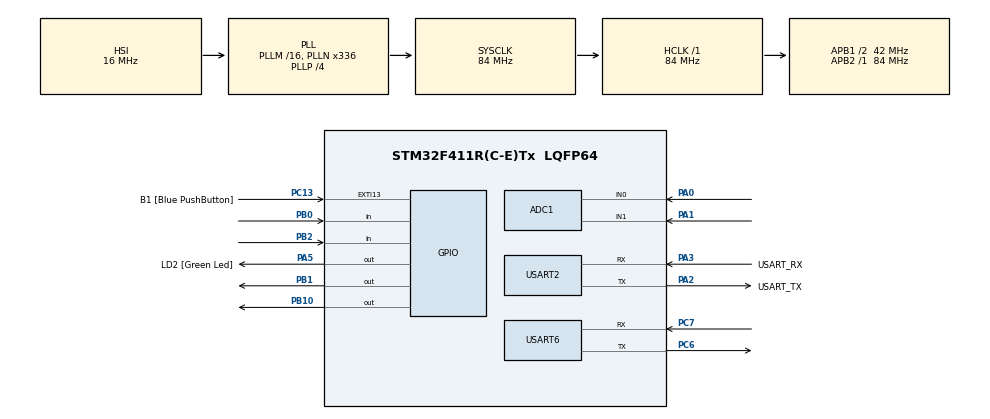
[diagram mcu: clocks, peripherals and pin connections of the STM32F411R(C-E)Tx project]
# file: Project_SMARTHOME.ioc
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ADC1.Channel-6\#ChannelRegularConversion=ADC_CHANNEL_0
ADC1.Channel-7\#ChannelRegularConversion=ADC_CHANNEL_1
ADC1.NbrOfConversion=2
ADC1.NbrOfConversionFlag=1
ADC1.Rank-6\#ChannelRegularConversion=1
ADC1.Rank-7\#ChannelRegularConversion=2
ADC1.SamplingTime-6\#ChannelRegularConversion=ADC_SAMPLETIME_3CYCLES
ADC1.SamplingTime-7\#ChannelRegularConversion=ADC_SAMPLETIME_480CYCLES
ADC1.ScanConvMode=ENABLE
ADC1.master=1
Mcu.Family=STM32F4
Mcu.Name=STM32F411R(C-E)Tx
Mcu.Package=LQFP64
NVIC.PriorityGroup=NVIC_PRIORITYGROUP_0
PA0-WKUP.Signal=ADCx_IN0
PA1.Signal=ADCx_IN1
PA13.GPIO_Label=TMS
PA13.Mode=Serial_Wire
PA13.Signal=SYS_JTMS-SWDIO
PA14.GPIO_Label=TCK
PA14.Mode=Serial_Wire
PA14.Signal=SYS_JTCK-SWCLK
PA2.GPIO_Label=USART_TX
PA2.Mode=Asynchronous
PA2.Signal=USART2_TX
PA3.GPIO_Label=USART_RX
PA3.Mode=Asynchronous
PA3.Signal=USART2_RX
PA5.GPIO_Label=LD2 [Green Led]
PA5.Signal=GPIO_Output
PB0.Signal=GPIO_Input
PB1.Signal=GPIO_Output
PB10.Signal=GPIO_Output
PB2.Signal=GPIO_Input
PB3.GPIO_Label=SWO
PB3.Signal=SYS_JTDO-SWO
PC13-ANTI_TAMP.GPIO_Label=B1 [Blue PushButton]
PC13-ANTI_TAMP.GPIO_ModeDefaultEXTI=GPIO_MODE_IT_FALLING
PC13-ANTI_TAMP.Signal=GPXTI13
PC14-OSC32_IN.Mode=LSE-External-Oscillator
PC14-OSC32_IN.Signal=RCC_OSC32_IN
PC15-OSC32_OUT.Mode=LSE-External-Oscillator
PC15-OSC32_OUT.Signal=RCC_OSC32_OUT
PC6.Mode=Asynchronous
PC6.Signal=USART6_TX
PC7.Mode=Asynchronous
PC7.Signal=USART6_RX
PH0\ -\ OSC_IN.Mode=HSE-External-Clock-Source
PH0\ -\ OSC_IN.Signal=RCC_OSC_IN
PH1\ -\ OSC_OUT.Mode=HSE-External-Clock-Source
PH1\ -\ OSC_OUT.Signal=RCC_OSC_OUT
ProjectManager.HeapSize=0x200
ProjectManager.StackSize=0x400
ProjectManager.TargetToolchain=STM32CubeIDE
RCC.48MHZClocksFreq_Value=84000000
RCC.AHBFreq_Value=84000000
RCC.APB1CLKDivider=RCC_HCLK_DIV2
RCC.APB1Freq_Value=42000000
RCC.APB1TimFreq_Value=84000000
RCC.APB2Freq_Value=84000000
RCC.APB2TimFreq_Value=84000000
RCC.CortexFreq_Value=84000000
RCC.FLatency-AdvancedSettings=FLASH_LATENCY_2
RCC.HCLKFreq_Value=84000000
RCC.HSE_VALUE=8000000
RCC.HSI_VALUE=16000000
RCC.PLLN=336
RCC.PLLP=RCC_PLLP_DIV4
RCC.SYSCLKFreq_VALUE=84000000
RCC.SYSCLKSource=RCC_SYSCLKSOURCE_PLLCLK
RCC.VCOOutputFreq_Value=336000000
SH.ADCx_IN0.0=ADC1_IN0,IN0
SH.ADCx_IN1.0=ADC1_IN1,IN1
USART2.VirtualMode=VM_ASYNC
USART6.VirtualMode=VM_ASYNC
board=NUCLEO-F411RE

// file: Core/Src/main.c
/* USER CODE BEGIN Header */
/**
  ******************************************************************************
  * @file           : main.c
  * @brief          : Main program body
  ******************************************************************************
  * @attention
  *
  * Copyright (c) 2025 STMicroelectronics.
  * All rights reserved.
  *
  * This software is licensed under terms that can be found in the LICENSE file
  * in the root directory of this software component.
  * If no LICENSE file comes with this software, it is provided AS-IS.
  *
  ******************************************************************************
  */
/* USER CODE END Header */
#include "main.h"

/* USER CODE BEGIN Includes */
#include <stdio.h>
#include <math.h>
/* USER CODE END Includes */

/* USER CODE BEGIN PTD */

/* ---------- Noise Level ---------- */
typedef enum {
    NOISE_LOW = 0,
    NOISE_MED,
    NOISE_HIGH
} NoiseLevel_t;

/* USER CODE END PTD */

/* USER CODE BEGIN PD */

/* ---------- GPIO Mapping ---------- */
/* LDR ใช้ ADC1_IN0 ที่ PA0 อยู่แล้วจาก CubeMX */
#define LDR_ADC_CHANNEL       ADC_CHANNEL_0   // PA0

#define MIC_GPIO_Port         GPIOB
#define MIC_Pin               GPIO_PIN_0      // Mic D0

#define US_TRIG_GPIO_Port     GPIOB
#define US_TRIG_Pin           GPIO_PIN_1
#define US_ECHO_GPIO_Port     GPIOB
#define US_ECHO_Pin           GPIO_PIN_2

#define LIGHT_GPIO_Port       GPIOB
#define LIGHT_Pin             GPIO_PIN_10    // LED ไฟห้อง (บน breadboard)

/* ใช้ LD2 บนบอร์ดเป็น Mode LED */
#define LED_GPIO_Port         LD2_GPIO_Port
#define LED_Pin               LD2_Pin        // PA5

/* ---------- ค่าปรับ (Tuning Parameters) ---------- */
#define LDR_TH_DARK            400   // ADC > ค่านี้ (~0.3V) = มืด

#define PERSON_DISTANCE_CM    150.0f   // ระยะถือว่ามีคน (เช่น < 1.5 m)

#define NOISE_HIGH_HOLD_MS   150     // ภายใน 150 ms หลังเจอเสียง = HIGH (ลดการกระพริบ)
#define NOISE_MED_HOLD_MS    900     // ภายใน 0.9 วิ หลังเจอเสียง = MED
#define NOISE_COUNT_WINDOW_MS (60 * 1000)  // หน้าต่างนับจำนวนเหตุการณ์เสียง 60 วิ
#define NOISE_MAX_HIGH_PER_WINDOW 3       // อนุญาต HIGH ได้ไม่เกิน 3 ครั้งใน 60 วิ
#define NOISE_MAX_MED_PER_WINDOW  8       // อนุญาต MED ได้ไม่เกิน 8 ครั้งใน 60 วิ

#define STATUS_TX_INTERVAL_MS 500            // ส่งสถานะออก UART ทุก 500ms

/* ---------- Debug Mic RMS / dB ---------- */
// เลือกช่อง ADC ของไมค์อนาล็อก (ต่อสายให้ตรงกับ CubeMX ด้วย)
#define MIC_ADC_CHANNEL       ADC_CHANNEL_1   // ปรับตามขาที่ใช้ต่อไมค์ AOUT
#define MIC_ADC_SAMPLE_TIME   ADC_SAMPLETIME_480CYCLES  // เพิ่มเวลา sample ให้สัญญาณนิ่ง
#define MIC_RMS_SAMPLES       16             // จำนวนตัวอย่างต่อเฟรม RMS
#define MIC_DEBUG_INTERVAL_MS 250            // เวลาพิมพ์ debug ต่อครั้ง
#define MIC_DEBUG_ENABLE      0              // 1 = เปิดพิมพ์ debug dB, 0 = ปิด

// ใช้คาลิเบรต dB SPL: วัด vrms_ref ตอนเปิดเสียงที่ spl_ref_dB (เช่น 94 dB @1kHz)
#define MIC_SPL_REF_DB        60.0f          // ใช้ ref ~60 dB (คาลิเบรตเชิงสัมพัทธ์)
#define MIC_VRMS_REF          0.0030f        // Vrms ที่ได้เมื่อเสียง ~55 dB (ปรับตามที่วัดจริง)

// ถ้าขา D0 ไม่เปลี่ยน ให้ใช้ค่าจาก ADC เป็นตัวตัดสินแทน: 1 เมื่อ RMS สูงกว่า threshold นี้ (หน่วย ADC count)
#define MIC_ADC_THRESHOLD     4            // ลด threshold ให้ตอบสนองสัญญาณ ADC ที่อ่อน (ดู MICADC ใน STATUS)
#define MIC_ADC_CONSEC_HIT    2              // ต้องสูงต่อเนื่องกี่ครั้งถึงจะถือว่ามีเสียง (กันสไปก์)

// Threshold dB SPL สำหรับจัดระดับเสียง (เชิงสัมพัทธ์)
#define NOISE_DB_MED          63.0f   // >63–70 = MED
#define NOISE_DB_HIGH         70.0f   // >70 = HIGH

/* USER CODE END PD */

ADC_HandleTypeDef hadc1;

UART_HandleTypeDef huart2;
UART_HandleTypeDef huart6;

/* USER CODE BEGIN PV */

/* ---------- ตัวแปรสถานะระบบ ---------- */
static uint8_t  g_lightOn = 0;

static uint16_t g_ldrValue = 0;
static float    g_ldrVoltage = 0.0f;
static uint8_t  g_isDark = 0;

static float    g_distanceCm = 999.0f;

static uint8_t  g_micDigital = 0;
static NoiseLevel_t g_noiseLevel = NOISE_LOW;

static uint32_t g_lastStatusTxTime = 0;
static uint32_t g_lastNoiseWindowStart = 0;
static uint16_t g_noiseHighCountWindow = 0;
static uint16_t g_noiseMedCountWindow  = 0;

static uint16_t g_micAdcRms = 0;   // ค่าที่อ่านได้จาก Mic ADC (RMS แบบดิบ)
static float    g_micVrms   = 0.0f;
static float    g_micDb     = 0.0f;
static float    g_micDbSpl  = 0.0f; // dB SPL (อ้างอิงค่าคาลิเบรต)

static uint32_t g_cycPerUs  = 0;    // สำหรับจับเวลาระดับไมโครวินาทีด้วย DWT

/* USER CODE END PV */

void SystemClock_Config(void);
static void MX_GPIO_Init(void);
static void MX_USART2_UART_Init(void);
static void MX_ADC1_Init(void);
static void MX_USART6_UART_Init(void);
void DWT_Init(void);
uint32_t micros(void);
/* USER CODE BEGIN PFP */

/* ---------- ฟังก์ชันของระบบ ---------- */
static uint16_t LDR_ReadRaw(void);
static void     Sensors_Update(uint32_t now);
static float    Ultrasonic_ReadDistanceCm(void);
static float    Mic_ReadRmsDb(uint16_t *adcRmsOut, float *vrmsOut);
static void     Mic_DebugTick(uint32_t now);
static void     Logic_Update(uint32_t now);
static void     Light_UpdateGPIO(void);
static void     Mode_LED_Update(void);

static void     UART_SendStatus(uint32_t now);
static void     UART_ProcessRx(void);

/* USER CODE END PFP */

/* USER CODE BEGIN 0 */

/* Retarget printf ไป UART2 */
int __io_putchar(int ch)
{
  HAL_UART_Transmit(&huart2, (uint8_t *)&ch, 1, HAL_MAX_DELAY);
  return ch;
}
/* อ่าน ADC ของ LDR */
static uint16_t LDR_ReadRaw(void)
{
  ADC_ChannelConfTypeDef sConfig = {0};
  sConfig.Channel = LDR_ADC_CHANNEL;
  sConfig.Rank = 1;
  sConfig.SamplingTime = ADC_SAMPLETIME_3CYCLES;

  HAL_ADC_ConfigChannel(&hadc1, &sConfig);
  HAL_ADC_Start(&hadc1);

  if (HAL_ADC_PollForConversion(&hadc1, 10) == HAL_OK)
  {
    uint16_t val = (uint16_t)HAL_ADC_GetValue(&hadc1);
    HAL_ADC_Stop(&hadc1);
    return val;
  }

  HAL_ADC_Stop(&hadc1);
  return 0;
}

/* ใช้ TIM2 วัดเวลาของ ECHO แบบละเอียดระดับไมโครวินาที */

static float Ultrasonic_ReadDistanceCm(void)
{
  /* 0) ถ้า DWT ยังไม่พร้อม ให้ fallback แบบหยาบ */
  if (g_cycPerUs == 0) {
    DWT_Init();
  }

  /* 1) จำกัด rate ยิง ultrasonic อย่างน้อย 70ms ต่อครั้ง */
  static uint32_t lastTrigUs = 0;
  static float lastDistance = 999.0f;
  static float filtered = -1.0f;
  uint32_t nowUs = micros();
  if (nowUs - lastTrigUs < 70000U) { // ยังไม่ครบ 70 ms ใช้ค่าล่าสุด
    return (filtered < 0.0f) ? lastDistance : filtered;
  }

  /* 2) ส่ง Trigger สูง 10us แบบกำหนดเวลาชัดเจน */
  HAL_GPIO_WritePin(US_TRIG_GPIO_Port, US_TRIG_Pin, GPIO_PIN_RESET);
  uint32_t tTrig = micros();
  while (micros() - tTrig < 5);    // hold low ~5us
  HAL_GPIO_WritePin(US_TRIG_GPIO_Port, US_TRIG_Pin, GPIO_PIN_SET);
  tTrig = micros();
  while (micros() - tTrig < 10);   // high 10us ตามสเปก
  HAL_GPIO_WritePin(US_TRIG_GPIO_Port, US_TRIG_Pin, GPIO_PIN_RESET);
  lastTrigUs = micros();

  /* 2) รอ Echo ขึ้น HIGH พร้อม timeout กันค้าง */
  uint32_t tWaitStart = micros();
  while (HAL_GPIO_ReadPin(US_ECHO_GPIO_Port, US_ECHO_Pin) == GPIO_PIN_RESET)
  {
    if ((micros() - tWaitStart) > 40000) { // 40 ms timeout
      return (filtered < 0.0f) ? lastDistance : filtered;   // รอนานเกิน → ใช้ค่าก่อนหน้า
    }
  }

  /* 3) วัดความกว้าง pulse แบบไมโครวินาที */
  uint32_t tStart = micros();
  while (HAL_GPIO_ReadPin(US_ECHO_GPIO_Port, US_ECHO_Pin) == GPIO_PIN_SET)
  {
    if ((micros() - tStart) > 40000) {
      return (filtered < 0.0f) ? lastDistance : filtered;   // pulse ยาวผิดปกติ → ใช้ค่าก่อนหน้า
    }
  }
  uint32_t dt_us = micros() - tStart;

  if (dt_us == 0 || dt_us > 40000) {
    return (filtered < 0.0f) ? lastDistance : filtered;     // กันกรณีหลุด ๆ → ใช้ค่าก่อนหน้า
  }

  /* 4) แปลงเป็นระยะ: sound speed ~0.0343 cm/us, หาร 2 เพราะไป-กลับ */
  float distance = ((float)dt_us) * 0.0343f * 0.5f;

  /* 6) low-pass filter ให้ค่าเนียนเหมือนเดิม */
  if (filtered < 0.0f) {
    filtered = distance;
  } else {
    filtered = 0.7f * filtered + 0.3f * distance;
  }

  lastDistance = filtered;
  return lastDistance;
}

/* อ่านไมค์อนาล็อกเป็น RMS + dB (ใช้สำหรับ debug) */
static float Mic_ReadRmsDb(uint16_t *adcRmsOut, float *vrmsOut)
{
  // ใช้ Welford incremental เพื่อหาค่า RMS แบบตัด DC offset ออก (AC component เท่านั้น)
  ADC_ChannelConfTypeDef sConfig = {0};
  sConfig.Rank = 1;
  sConfig.SamplingTime = MIC_ADC_SAMPLE_TIME;
  sConfig.Channel = MIC_ADC_CHANNEL; // ใช้ช่องไมค์โดยตรง (ไม่ fallback)

  float mean = 0.0f;
  float m2   = 0.0f;
  uint32_t n = 0;

  for (int i = 0; i < MIC_RMS_SAMPLES; i++)
  {
    HAL_ADC_ConfigChannel(&hadc1, &sConfig);
    HAL_ADC_Start(&hadc1);
    if (HAL_ADC_PollForConversion(&hadc1, 10) == HAL_OK)
    {
      uint32_t v = HAL_ADC_GetValue(&hadc1);
      n++;
      float delta = (float)v - mean;
      mean += delta / (float)n;
      float delta2 = (float)v - mean;
      m2 += delta * delta2;
    }
    HAL_ADC_Stop(&hadc1);
  }

  float adcRmsFloat = 0.0f;
  float vrms = 0.0f;
  float db   = -120.0f;

  if (n > 0)
  {
    float variance = m2 / (float)n;
    if (variance < 0) variance = 0;
    adcRmsFloat = sqrtf(variance);
    if (adcRmsFloat < 1e-3f) adcRmsFloat = 1e-3f;
    vrms = adcRmsFloat * (3.3f / 4095.0f);
    db   = 20.0f * log10f(vrms / 1.0f);
  }

  if (adcRmsOut) *adcRmsOut = (uint16_t)(adcRmsFloat + 0.5f);
  if (vrmsOut) *vrmsOut = vrms;
  return db;
}

/* อัปเดตค่าจาก sensor ทั้งหมด + clap / noise */
static void Sensors_Update(uint32_t now)
{
  /* ---------- LDR ---------- */
  g_ldrValue = LDR_ReadRaw();
  g_ldrVoltage = (3.3f * (float)g_ldrValue) / 4095.0f;
  g_isDark   = (g_ldrValue > LDR_TH_DARK);   // กลับด้าน: ค่าสูง = มืด

  /* ---------- Mic Digital (อ่านเสียง + clap) ---------- */
  static uint8_t micConsec = 0; // ใช้หน่วงเพื่อลดสไปก์จาก ADC

  // ใช้ขา D0 เป็น optional แต่ให้ยึดค่าจาก ADC เป็นหลัก
  uint8_t raw = (HAL_GPIO_ReadPin(MIC_GPIO_Port, MIC_Pin) == GPIO_PIN_RESET) ? 1 : 0;

  // อ่าน RMS (AC) และถ้าสูงกว่า threshold ให้ถือว่ามีเสียง (override D0)
  uint16_t adcRmsTmp = 0;
  float vrmsTmp = 0.0f;
  float dbTmp = Mic_ReadRmsDb(&adcRmsTmp, &vrmsTmp);
  if (adcRmsTmp > MIC_ADC_THRESHOLD) {
      if (micConsec < 255) micConsec++;
  } else {
      if (micConsec > 0) micConsec--; // ลดลงทีละขั้นเพื่อหน่วง
  }

  if (micConsec >= MIC_ADC_CONSEC_HIT) {
      raw = 1;
  } else {
      raw = 0; // ค่าต่ำหรือไม่ต่อเนื่องพอถือว่าเงียบ
  }

  g_micDigital = raw; // ใช้ ADC เป็นตัวตัดสินหลัก (D0 เป็นแค่ตัวเสริม)
  g_micAdcRms = adcRmsTmp;
  //vrmsTmp = vrmsTmp * 5.0f; // ขยาย gain (ขึ้นกับวงจรไมค์)
  g_micVrms   = vrmsTmp;
  g_micDbSpl  = MIC_SPL_REF_DB + 20.0f * log10f((vrmsTmp < 1e-6f ? 1e-6f : vrmsTmp) / MIC_VRMS_REF);
  g_micDb     = g_micDbSpl;

  /* ---------- อัปเดตระดับ NOISE ด้วย SPL + hold time กันแกว่ง ---------- */
  static uint32_t lastHighEventMs = 0;
  static uint32_t lastMedEventMs  = 0;

  if (g_micDbSpl >= NOISE_DB_HIGH) {
      lastHighEventMs = now;
      lastMedEventMs  = now;
  } else if (g_micDbSpl >= NOISE_DB_MED) {
      lastMedEventMs = now;
  }

  uint8_t highActive = (lastHighEventMs && ((now - lastHighEventMs) < NOISE_HIGH_HOLD_MS));
  uint8_t medActive  = (lastMedEventMs  && ((now - lastMedEventMs)  < NOISE_MED_HOLD_MS));

  if (highActive) {
      g_noiseLevel = NOISE_HIGH;
  } else if (medActive) {
      g_noiseLevel = NOISE_MED;
  } else {
      g_noiseLevel = NOISE_LOW;
  }

  /* ---------- Ultrasonic ---------- */
  g_distanceCm = Ultrasonic_ReadDistanceCm();
  if (g_distanceCm > 0 && g_distanceCm < PERSON_DISTANCE_CM)
  {
  }
}

static void Logic_Update(uint32_t now)
{
    /* ---------- นับจำนวนเหตุการณ์เสียงในหน้าต่าง 60 วิ ---------- */
    static NoiseLevel_t prevNoiseLevel = NOISE_LOW;
    if (prevNoiseLevel != g_noiseLevel)
    {
        if (g_noiseLevel == NOISE_HIGH) {
            g_noiseHighCountWindow++;
        } else if (g_noiseLevel == NOISE_MED) {
            g_noiseMedCountWindow++;
        }
    }
    prevNoiseLevel = g_noiseLevel;

    if (now - g_lastNoiseWindowStart >= NOISE_COUNT_WINDOW_MS) {
        g_lastNoiseWindowStart = now;
        g_noiseHighCountWindow = 0;
        g_noiseMedCountWindow  = 0;
    }

    /* ---------- เงื่อนไขหลักตามที่ต้องการ ---------- */

    // 1) เช็คว่าตอนนี้ ultrasonic ตรวจจับคนอยู่ไหม
    uint8_t personDetectedNow =
        (g_distanceCm > 0.0f && g_distanceCm < PERSON_DISTANCE_CM);

    // 2) เสียงเกิน threshold หรือยัง?
    uint8_t noiseTooHigh =
        (g_noiseHighCountWindow >= NOISE_MAX_HIGH_PER_WINDOW) ||
        (g_noiseMedCountWindow  >= NOISE_MAX_MED_PER_WINDOW);

    // 3) ถ้าเสียง HIGH/MED เกิน threshold และมีคนอยู่ -> ขอเปิดไฟ
    if (noiseTooHigh && personDetectedNow)
    {
        // เช็คเซนเซอร์แสง ถ้ามืด/แสงไม่พอ -> เปิดไฟ (และในอนาคตค่อยเพิ่มการปรับ brightness)
        if (g_isDark) {
            g_lightOn = 1;

            // TODO: ถ้ามีวงจร dimming จริง ๆ ให้ปรับ PWM ที่นี่
            // เช่น Light_SetBrightness(level) แล้วอ่าน LDR วนจนกว่าจะสว่างพอ
        }
    }

    // 4) ถ้าไฟเปิดอยู่แล้ว และตอนนี้เสียงกลับมา LOW และ count ต่ำกว่า threshold -> ปิดไฟ
    if (g_lightOn &&
        g_noiseLevel == NOISE_LOW &&
        g_noiseHighCountWindow < NOISE_MAX_HIGH_PER_WINDOW &&
        g_noiseMedCountWindow  < NOISE_MAX_MED_PER_WINDOW)
    {
        g_lightOn = 0;
    }

}

/* พิมพ์ค่าไมค์เป็น RMS/dB สำหรับ debug */
static void Mic_DebugTick(uint32_t now)
{
#if MIC_DEBUG_ENABLE
  static uint32_t lastPrint = 0;
  if (now - lastPrint < MIC_DEBUG_INTERVAL_MS) return;
  lastPrint = now;

  uint16_t adcRms = 0;
  float vrms = 0.0f;
  float db = Mic_ReadRmsDb(&adcRms, &vrms);
  float dbSpl = MIC_SPL_REF_DB + 20.0f * log10f((vrms < 1e-6f ? 1e-6f : vrms) / MIC_VRMS_REF);

  const char *noiseStr = (g_noiseLevel == NOISE_LOW) ? "LOW" :
                         (g_noiseLevel == NOISE_MED) ? "MED" : "HIGH";

  printf("[MICDBG] adc_rms=%u vrms=%.3f dB=%.1f spl=%.1f mic_dig=%d noise=%s\\r\\n",
         adcRms, vrms, db, dbSpl, g_micDigital, noiseStr);
#else
  (void)now;
#endif
}

/* อัปเดต GPIO ของไฟห้อง */
static void Light_UpdateGPIO(void)
{
  if (g_lightOn)
    HAL_GPIO_WritePin(LIGHT_GPIO_Port, LIGHT_Pin, GPIO_PIN_SET);
  else
    HAL_GPIO_WritePin(LIGHT_GPIO_Port, LIGHT_Pin, GPIO_PIN_RESET);
}

/* Mode LED (ใช้ LD2) */
static void Mode_LED_Update(void)
{
  uint32_t now = HAL_GetTick();
  uint8_t ledOn = ((now / 500) % 2) ? 1 : 0;

  HAL_GPIO_WritePin(LED_GPIO_Port, LED_Pin, ledOn ? GPIO_PIN_SET : GPIO_PIN_RESET);
}

/* ส่งสถานะปัจจุบันออก UART6 (ไป ESP32) และ UART2 (debug) */
static void UART_SendStatus(uint32_t now)
{
  if (now - g_lastStatusTxTime < STATUS_TX_INTERVAL_MS) return;
  g_lastStatusTxTime = now;

  if (g_micVrms < 1e-6f) g_micVrms = 1e-6f; // กัน log(0)

  const char *noiseStr = (g_noiseLevel == NOISE_LOW) ? "LOW" :
                         (g_noiseLevel == NOISE_MED) ? "MED" : "HIGH";

  // แปลงระยะจาก float → int (cm) สำหรับส่งไป ESP32
  uint16_t distInt = (g_distanceCm < 0.0f) ? 0 : (uint16_t)(g_distanceCm + 0.5f);

  /* ---------- 1) ส่งชุดสั้นไป ESP32 ผ่าน USART6 ---------- */
  char buf6[128];

  // รูปแบบต้องตรงกับ sscanf ฝั่ง ESP32 (DIST เป็น int ไม่มีทศนิยม)
  // STATUS;LIGHT=%d;LDR=%u;DIST=%d;NOISE=%s
  int len6 = snprintf(buf6, sizeof(buf6),
           "STATUS;LIGHT=%d;LDR=%u;DIST=%d;NOISE=%s\n",
           g_lightOn,
           g_ldrValue,
           distInt,
           noiseStr);

  if (len6 > 0) {
    HAL_UART_Transmit(&huart6, (uint8_t *)buf6, len6, 50);
  }

  /* ---------- 2) ส่งชุดเต็ม (พร้อม float) ไปดูใน PuTTY ผ่าน USART2 ---------- */
  char buf2[240];
  int len2 = snprintf(buf2, sizeof(buf2),
           "STATUS;LIGHT=%d;LDR=%u;LDRV=%.3f;DIST=%.1f;NOISE=%s;"
           "MIC=%d;MICADC=%u;MICVR=%.3f;MICDB=%.1f;MICSPL=%.1f\r\n",
           g_lightOn,
           g_ldrValue,
           g_ldrVoltage,
           g_distanceCm,
           noiseStr,
           g_micDigital,
           g_micAdcRms,
           g_micVrms,
           g_micDb,
           g_micDbSpl);

  if (len2 > 0) {
    HAL_UART_Transmit(&huart2, (uint8_t *)buf2, len2, 50);
  }
}

/* โครงรับคำสั่งจาก UART (ยังว่างไว้ให้ต่อยอด) */
static void UART_ProcessRx(void)
{
  /* TODO: ถ้าจะคุยกับ NodeMCU / ESP ให้ทำ parser ตรงนี้ */
}

/* USER CODE END 0 */

int main(void)
{

  /* MCU Configuration--------------------------------------------------------*/

  /* Reset of all peripherals, Initializes the Flash interface and the Systick. */
  HAL_Init();

  /* Configure the system clock */
  SystemClock_Config();

  /* Initialize all configured peripherals */
  MX_GPIO_Init();
  MX_USART2_UART_Init();
  MX_ADC1_Init();
  MX_USART6_UART_Init();
  /* USER CODE BEGIN 2 */

  printf("\r\n[SYS] Smart Light Controller start\r\n");
  g_lastNoiseWindowStart = HAL_GetTick();

  DWT_Init(); // เตรียม DWT สำหรับจับเวลา us (ใช้กับ Ultrasonic)

  /* USER CODE END 2 */

  /* Infinite loop */
  /* USER CODE BEGIN WHILE */
  while (1)
  {
    uint32_t now = HAL_GetTick();

    Sensors_Update(now);
    Logic_Update(now);
    Light_UpdateGPIO();
    Mode_LED_Update();

    UART_SendStatus(now);
    UART_ProcessRx();

    Mic_DebugTick(now);

    HAL_Delay(1);   // loop ทุก ~10ms
    /* USER CODE END WHILE */

  }
}

void SystemClock_Config(void)
{
  RCC_OscInitTypeDef RCC_OscInitStruct = {0};
  RCC_ClkInitTypeDef RCC_ClkInitStruct = {0};

  /** Configure the main internal regulator output voltage
  */
  __HAL_RCC_PWR_CLK_ENABLE();
  __HAL_PWR_VOLTAGESCALING_CONFIG(PWR_REGULATOR_VOLTAGE_SCALE1);

  /** Initializes the RCC Oscillators according to the specified parameters
  * in the RCC_OscInitTypeDef structure.
  */
  RCC_OscInitStruct.OscillatorType = RCC_OSCILLATORTYPE_HSI;
  RCC_OscInitStruct.HSIState = RCC_HSI_ON;
  RCC_OscInitStruct.HSICalibrationValue = RCC_HSICALIBRATION_DEFAULT;
  RCC_OscInitStruct.PLL.PLLState = RCC_PLL_ON;
  RCC_OscInitStruct.PLL.PLLSource = RCC_PLLSOURCE_HSI;
  RCC_OscInitStruct.PLL.PLLM = 16;
  RCC_OscInitStruct.PLL.PLLN = 336;
  RCC_OscInitStruct.PLL.PLLP = RCC_PLLP_DIV4;
  RCC_OscInitStruct.PLL.PLLQ = 4;
  if (HAL_RCC_OscConfig(&RCC_OscInitStruct) != HAL_OK)
  {
    Error_Handler();
  }

  /** Initializes the CPU, AHB and APB buses clocks
  */
  RCC_ClkInitStruct.ClockType = RCC_CLOCKTYPE_HCLK|RCC_CLOCKTYPE_SYSCLK
                              |RCC_CLOCKTYPE_PCLK1|RCC_CLOCKTYPE_PCLK2;
  RCC_ClkInitStruct.SYSCLKSource = RCC_SYSCLKSOURCE_PLLCLK;
  RCC_ClkInitStruct.AHBCLKDivider = RCC_SYSCLK_DIV1;
  RCC_ClkInitStruct.APB1CLKDivider = RCC_HCLK_DIV2;
  RCC_ClkInitStruct.APB2CLKDivider = RCC_HCLK_DIV1;

  if (HAL_RCC_ClockConfig(&RCC_ClkInitStruct, FLASH_LATENCY_2) != HAL_OK)
  {
    Error_Handler();
  }
}

static void MX_ADC1_Init(void)
{

  ADC_ChannelConfTypeDef sConfig = {0};

  /** Configure the global features of the ADC (Clock, Resolution, Data Alignment and number of conversion)
  */
  hadc1.Instance = ADC1;
  hadc1.Init.ClockPrescaler = ADC_CLOCK_SYNC_PCLK_DIV4;
  hadc1.Init.Resolution = ADC_RESOLUTION_12B;
  hadc1.Init.ScanConvMode = ENABLE;
  hadc1.Init.ContinuousConvMode = DISABLE;
  hadc1.Init.DiscontinuousConvMode = DISABLE;
  hadc1.Init.ExternalTrigConvEdge = ADC_EXTERNALTRIGCONVEDGE_NONE;
  hadc1.Init.ExternalTrigConv = ADC_SOFTWARE_START;
  hadc1.Init.DataAlign = ADC_DATAALIGN_RIGHT;
  hadc1.Init.NbrOfConversion = 2;
  hadc1.Init.DMAContinuousRequests = DISABLE;
  hadc1.Init.EOCSelection = ADC_EOC_SINGLE_CONV;
  if (HAL_ADC_Init(&hadc1) != HAL_OK)
  {
    Error_Handler();
  }

  /** Configure for the selected ADC regular channel its corresponding rank in the sequencer and its sample time.
  */
  sConfig.Channel = ADC_CHANNEL_0;
  sConfig.Rank = 1;
  sConfig.SamplingTime = ADC_SAMPLETIME_3CYCLES;
  if (HAL_ADC_ConfigChannel(&hadc1, &sConfig) != HAL_OK)
  {
    Error_Handler();
  }

  /** Configure for the selected ADC regular channel its corresponding rank in the sequencer and its sample time.
  */
  sConfig.Channel = ADC_CHANNEL_1;
  sConfig.Rank = 2;
  sConfig.SamplingTime = ADC_SAMPLETIME_480CYCLES;
  if (HAL_ADC_ConfigChannel(&hadc1, &sConfig) != HAL_OK)
  {
    Error_Handler();
  }

}

static void MX_USART2_UART_Init(void)
{

  huart2.Instance = USART2;
  huart2.Init.BaudRate = 115200;
  huart2.Init.WordLength = UART_WORDLENGTH_8B;
  huart2.Init.StopBits = UART_STOPBITS_1;
  huart2.Init.Parity = UART_PARITY_NONE;
  huart2.Init.Mode = UART_MODE_TX_RX;
  huart2.Init.HwFlowCtl = UART_HWCONTROL_NONE;
  huart2.Init.OverSampling = UART_OVERSAMPLING_16;
  if (HAL_UART_Init(&huart2) != HAL_OK)
  {
    Error_Handler();
  }

}

static void MX_USART6_UART_Init(void)
{

  huart6.Instance = USART6;
  huart6.Init.BaudRate = 115200;
  huart6.Init.WordLength = UART_WORDLENGTH_8B;
  huart6.Init.StopBits = UART_STOPBITS_1;
  huart6.Init.Parity = UART_PARITY_NONE;
  huart6.Init.Mode = UART_MODE_TX_RX;
  huart6.Init.HwFlowCtl = UART_HWCONTROL_NONE;
  huart6.Init.OverSampling = UART_OVERSAMPLING_16;
  if (HAL_UART_Init(&huart6) != HAL_OK)
  {
    Error_Handler();
  }

}

static void MX_GPIO_Init(void)
{
  GPIO_InitTypeDef GPIO_InitStruct = {0};

  /* GPIO Ports Clock Enable */
  __HAL_RCC_GPIOC_CLK_ENABLE();
  __HAL_RCC_GPIOH_CLK_ENABLE();
  __HAL_RCC_GPIOA_CLK_ENABLE();
  __HAL_RCC_GPIOB_CLK_ENABLE();

  /*Configure GPIO pin Output Level */
  HAL_GPIO_WritePin(LD2_GPIO_Port, LD2_Pin, GPIO_PIN_RESET);

  /*Configure GPIO pin Output Level */
  HAL_GPIO_WritePin(GPIOB, GPIO_PIN_1|GPIO_PIN_10, GPIO_PIN_RESET);

  /*Configure GPIO pin : B1_Pin */
  GPIO_InitStruct.Pin = B1_Pin;
  GPIO_InitStruct.Mode = GPIO_MODE_IT_FALLING;
  GPIO_InitStruct.Pull = GPIO_NOPULL;
  HAL_GPIO_Init(B1_GPIO_Port, &GPIO_InitStruct);

  /*Configure GPIO pin : LD2_Pin */
  GPIO_InitStruct.Pin = LD2_Pin;
  GPIO_InitStruct.Mode = GPIO_MODE_OUTPUT_PP;
  GPIO_InitStruct.Pull = GPIO_NOPULL;
  GPIO_InitStruct.Speed = GPIO_SPEED_FREQ_LOW;
  HAL_GPIO_Init(LD2_GPIO_Port, &GPIO_InitStruct);

  /*Configure GPIO pins : PB0 PB2 */
  GPIO_InitStruct.Pin = GPIO_PIN_0|GPIO_PIN_2;
  GPIO_InitStruct.Mode = GPIO_MODE_INPUT;
  GPIO_InitStruct.Pull = GPIO_NOPULL;
  HAL_GPIO_Init(GPIOB, &GPIO_InitStruct);

  /*Configure GPIO pins : PB1 PB10 */
  GPIO_InitStruct.Pin = GPIO_PIN_1|GPIO_PIN_10;
  GPIO_InitStruct.Mode = GPIO_MODE_OUTPUT_PP;
  GPIO_InitStruct.Pull = GPIO_NOPULL;
  GPIO_InitStruct.Speed = GPIO_SPEED_FREQ_LOW;
  HAL_GPIO_Init(GPIOB, &GPIO_InitStruct);

}

/* USER CODE BEGIN 4 */
/* เตรียม DWT counter สำหรับจับเวลาระดับไมโครวินาที */
void DWT_Init(void)
{
  if (!(CoreDebug->DEMCR & CoreDebug_DEMCR_TRCENA_Msk)) {
    CoreDebug->DEMCR |= CoreDebug_DEMCR_TRCENA_Msk;
  }
  DWT->CYCCNT = 0;
  DWT->CTRL |= DWT_CTRL_CYCCNTENA_Msk;
  g_cycPerUs = HAL_RCC_GetHCLKFreq() / 1000000U;
  if (g_cycPerUs == 0) g_cycPerUs = 1;
}

/* คืนค่าไมโครวินาทีจาก DWT counter */
uint32_t micros(void)
{
  if (g_cycPerUs == 0) {
    return HAL_GetTick() * 1000U; // fallback หยาบ
  }
  return DWT->CYCCNT / g_cycPerUs;
}

/* USER CODE END 4 */

void Error_Handler(void)
{
  __disable_irq();
  while (1)
  {
  }
}
